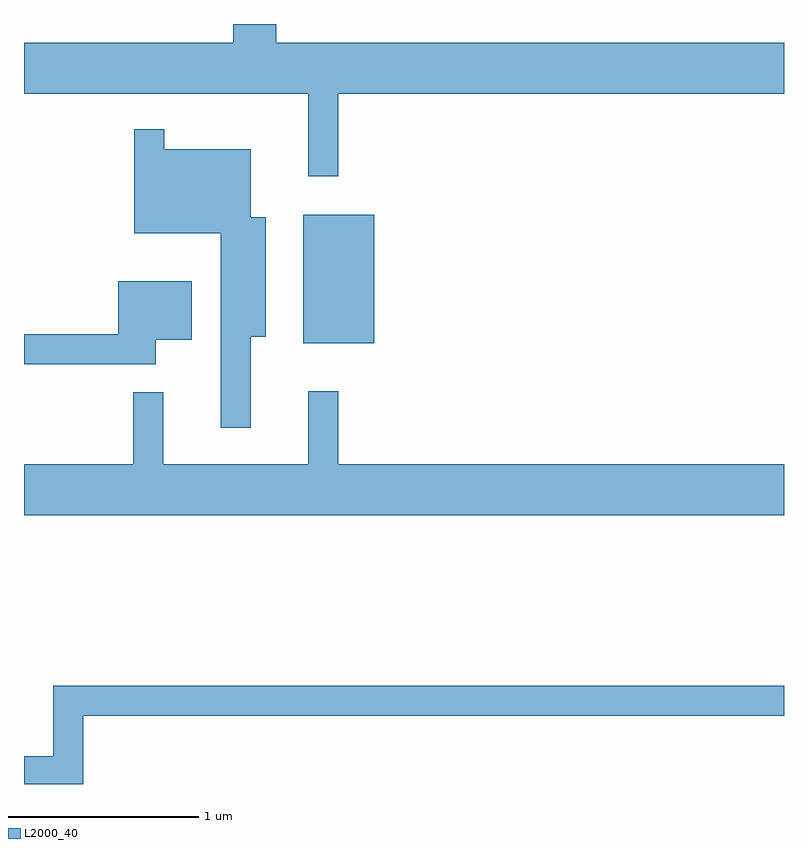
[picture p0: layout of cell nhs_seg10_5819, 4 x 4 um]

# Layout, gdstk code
import gdstk
lib = gdstk.Library(unit=1e-6, precision=1e-09)
def R(c, l, rs):  # rectangles x0, y0, x1, y1
    for r in rs: c.add(gdstk.rectangle(r[:2], r[2:], *l))
def P(c, l, *ps):  # polygons
    for p in ps: c.add(gdstk.Polygon(p, *l))
L2000_40 = (2000, 40)

nhs_seg10_5819 = lib.new_cell('nhs_seg10_5819')
R(nhs_seg10_5819, L2000_40, [(359.081,2094.841,359.454,2095.519)])
P(nhs_seg10_5819, L2000_40, [(359.264,2096.156),(361.611,2096.156),(361.611,2096.424),(358.939,2096.424),(358.939,2096.522),(358.711,2096.522),(358.711,2096.424),(357.611,2096.424),(357.611,2096.156),(359.106,2096.156),(359.106,2095.722),(359.264,2095.722)],
  [(358.804,2094.876),(358.884,2094.876),(358.884,2095.504),(358.804,2095.504),(358.804,2095.864),(358.349,2095.864),(358.349,2095.968),(358.191,2095.968),(358.191,2095.421),(358.646,2095.421),(358.646,2094.398),(358.804,2094.398)],
  [(358.304,2094.861),(358.494,2094.861),(358.494,2095.169),(358.106,2095.169),(358.106,2094.889),(357.611,2094.889),(357.611,2094.731),(358.304,2094.731)],
  [(361.611,2094.204),(359.264,2094.204),(359.264,2094.588),(359.106,2094.588),(359.106,2094.204),(358.344,2094.204),(358.344,2094.583),(358.186,2094.583),(358.186,2094.204),(357.611,2094.204),(357.611,2093.936),(361.611,2093.936)],
  [(357.924,2092.881),(361.611,2092.881),(361.611,2093.039),(357.766,2093.039),(357.766,2092.669),(357.611,2092.669),(357.611,2092.522),(357.924,2092.522)])

lib.write_gds('nhs_seg10_5819.gds')
